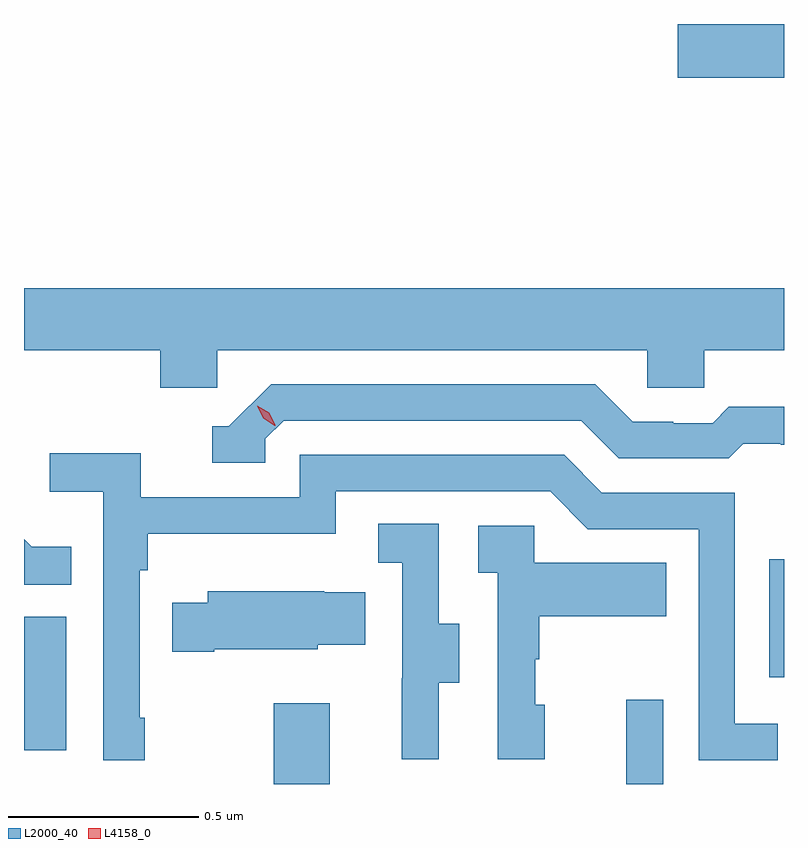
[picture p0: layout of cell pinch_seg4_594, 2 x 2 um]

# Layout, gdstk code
import gdstk
lib = gdstk.Library(unit=1e-6, precision=1e-09)
def R(c, l, rs):  # rectangles x0, y0, x1, y1
    for r in rs: c.add(gdstk.rectangle(r[:2], r[2:], *l))
def P(c, l, *ps):  # polygons
    for p in ps: c.add(gdstk.Polygon(p, *l))
L2000_40 = (2000, 40)
L4158_0 = (4158, 0)

pinch_seg4_594 = lib.new_cell('pinch_seg4_594')
R(pinch_seg4_594, L2000_40, [(1074.694,777.031,1074.841,777.244), (1075.622,777.031,1075.719,777.253), (1074.037,777.12,1074.148,777.471), (1075.998,777.312,1076.037,777.622), (1075.758,778.889,1076.037,779.031)])
P(pinch_seg4_594, L2000_40, [(1074.546,778.172),(1075.677,778.172),(1075.677,778.074),(1075.827,778.074),(1075.827,778.172),(1076.037,778.172),(1076.037,778.336),(1074.037,778.336),(1074.037,778.172),(1074.395,778.172),(1074.395,778.074),(1074.546,778.074)],
  [(1074.672,777.939),(1074.72,777.987),(1075.503,777.987),(1075.602,777.888),(1075.891,777.888),(1075.93,777.927),(1076.029,777.927),(1076.029,777.924),(1076.037,777.924),(1076.037,778.024),(1075.891,778.024),(1075.849,777.981),(1075.746,777.981),(1075.746,777.984),(1075.639,777.984),(1075.54,778.083),(1074.687,778.083),(1074.576,777.972),(1074.533,777.972),(1074.533,777.876),(1074.672,777.876)],
  [(1074.355,777.205),(1074.342,777.205),(1074.342,777.593),(1074.362,777.593),(1074.362,777.689),(1074.858,777.689),(1074.858,777.801),(1075.422,777.801),(1075.521,777.702),(1075.812,777.702),(1075.812,777.093),(1076.021,777.093),(1076.021,777.189),(1075.908,777.189),(1075.908,777.798),(1075.558,777.798),(1075.459,777.897),(1074.762,777.897),(1074.762,777.786),(1074.344,777.786),(1074.344,777.902),(1074.105,777.902),(1074.105,777.8),(1074.246,777.8),(1074.246,777.093),(1074.355,777.093)],
  [(1075.129,777.298),(1075.183,777.298),(1075.183,777.453),(1075.128,777.453),(1075.128,777.716),(1074.969,777.716),(1074.969,777.613),(1075.032,777.613),(1075.032,777.309),(1075.031,777.309),(1075.031,777.096),(1075.129,777.096)],
  [(1075.408,777.24),(1075.383,777.24),(1075.383,777.359),(1075.393,777.359),(1075.393,777.473),(1075.727,777.473),(1075.727,777.613),(1075.38,777.613),(1075.38,777.711),(1075.233,777.711),(1075.233,777.587),(1075.284,777.587),(1075.284,777.096),(1075.408,777.096)],
  [(1074.161,777.655),(1074.057,777.655),(1074.037,777.675),(1074.037,777.556),(1074.161,777.556)],
  [(1074.538,777.386),(1074.81,777.386),(1074.81,777.398),(1074.935,777.398),(1074.935,777.535),(1074.827,777.535),(1074.827,777.538),(1074.521,777.538),(1074.521,777.508),(1074.427,777.508),(1074.427,777.379),(1074.538,777.379)])
P(pinch_seg4_594, L4158_0, [(1074.697,777.974),(1074.667,777.994),(1074.651,778.027),(1074.651,778.027),(1074.651,778.027),(1074.682,778.008),(1074.698,777.975),(1074.698,777.974)])

lib.write_gds('pinch_seg4_594.gds')
